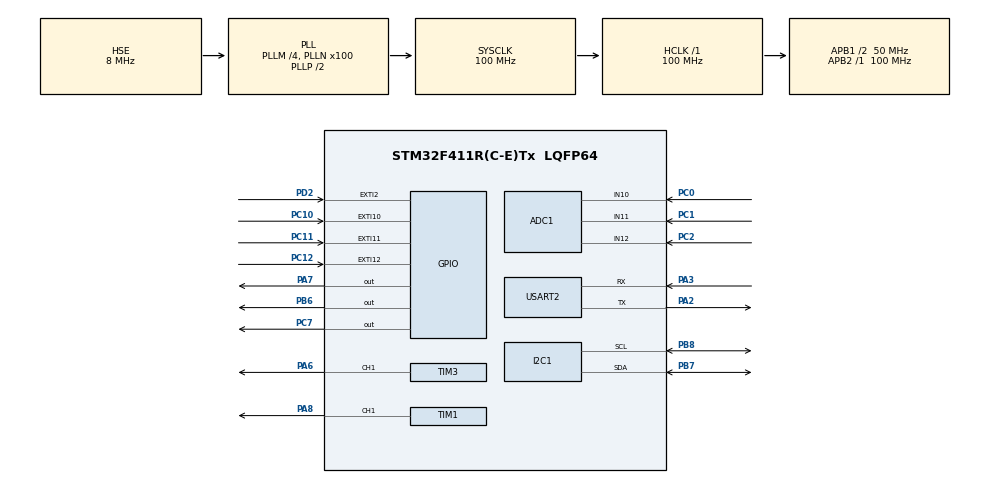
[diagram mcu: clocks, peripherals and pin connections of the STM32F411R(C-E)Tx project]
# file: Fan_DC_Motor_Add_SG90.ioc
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ADC1.Channel-0\#ChannelRegularConversion=ADC_CHANNEL_10
ADC1.Channel-1\#ChannelRegularConversion=ADC_CHANNEL_11
ADC1.Channel-2\#ChannelRegularConversion=ADC_CHANNEL_12
ADC1.ContinuousConvMode=ENABLE
ADC1.DMAContinuousRequests=ENABLE
ADC1.NbrOfConversion=3
ADC1.NbrOfConversionFlag=1
ADC1.Rank-0\#ChannelRegularConversion=1
ADC1.Rank-1\#ChannelRegularConversion=2
ADC1.Rank-2\#ChannelRegularConversion=3
ADC1.SamplingTime-0\#ChannelRegularConversion=ADC_SAMPLETIME_112CYCLES
ADC1.SamplingTime-1\#ChannelRegularConversion=ADC_SAMPLETIME_112CYCLES
ADC1.SamplingTime-2\#ChannelRegularConversion=ADC_SAMPLETIME_112CYCLES
ADC1.ScanConvMode=ENABLE
ADC1.master=1
Dma.ADC1.0.Direction=DMA_PERIPH_TO_MEMORY
Dma.ADC1.0.FIFOMode=DMA_FIFOMODE_DISABLE
Dma.ADC1.0.Instance=DMA2_Stream0
Dma.ADC1.0.MemDataAlignment=DMA_MDATAALIGN_HALFWORD
Dma.ADC1.0.MemInc=DMA_MINC_ENABLE
Dma.ADC1.0.Mode=DMA_CIRCULAR
Dma.ADC1.0.PeriphDataAlignment=DMA_PDATAALIGN_HALFWORD
Dma.ADC1.0.PeriphInc=DMA_PINC_DISABLE
Dma.ADC1.0.Priority=DMA_PRIORITY_LOW
Dma.Request0=ADC1
Mcu.Family=STM32F4
Mcu.Name=STM32F411R(C-E)Tx
Mcu.Package=LQFP64
NVIC.DMA2_Stream0_IRQn=true\:0\:0\:false\:false\:true\:false\:true\:true
NVIC.EXTI15_10_IRQn=true\:0\:0\:false\:false\:true\:true\:true\:true
NVIC.EXTI2_IRQn=true\:0\:0\:false\:false\:true\:true\:true\:true
NVIC.PriorityGroup=NVIC_PRIORITYGROUP_4
NVIC.TIM1_TRG_COM_TIM11_IRQn=true\:0\:0\:false\:false\:true\:true\:true\:true
NVIC.USART2_IRQn=true\:0\:0\:false\:false\:true\:true\:true\:true
PA13.Mode=Serial_Wire
PA13.Signal=SYS_JTMS-SWDIO
PA14.Mode=Serial_Wire
PA14.Signal=SYS_JTCK-SWCLK
PA2.Mode=Asynchronous
PA2.Signal=USART2_TX
PA3.Mode=Asynchronous
PA3.Signal=USART2_RX
PA6.Signal=S_TIM3_CH1
PA7.Signal=GPIO_Output
PA8.Signal=S_TIM1_CH1
PB6.Signal=GPIO_Output
PB7.Mode=I2C
PB7.Signal=I2C1_SDA
PB8.Mode=I2C
PB8.Signal=I2C1_SCL
PC0.Signal=ADCx_IN10
PC1.Signal=ADCx_IN11
PC10.GPIO_ModeDefaultEXTI=GPIO_MODE_IT_FALLING
PC10.Signal=GPXTI10
PC11.GPIO_ModeDefaultEXTI=GPIO_MODE_IT_FALLING
PC11.Signal=GPXTI11
PC12.GPIO_ModeDefaultEXTI=GPIO_MODE_IT_FALLING
PC12.Signal=GPXTI12
PC2.Signal=ADCx_IN12
PC7.Signal=GPIO_Output
PD2.GPIO_ModeDefaultEXTI=GPIO_MODE_IT_FALLING
PD2.Signal=GPXTI2
PH0\ -\ OSC_IN.Mode=HSE-External-Oscillator
PH0\ -\ OSC_IN.Signal=RCC_OSC_IN
PH1\ -\ OSC_OUT.Mode=HSE-External-Oscillator
PH1\ -\ OSC_OUT.Signal=RCC_OSC_OUT
ProjectManager.HeapSize=0x200
ProjectManager.StackSize=0x400
ProjectManager.TargetToolchain=STM32CubeIDE
RCC.48MHZClocksFreq_Value=50000000
RCC.AHBFreq_Value=100000000
RCC.APB1CLKDivider=RCC_HCLK_DIV2
RCC.APB1Freq_Value=50000000
RCC.APB1TimFreq_Value=100000000
RCC.APB2Freq_Value=100000000
RCC.APB2TimFreq_Value=100000000
RCC.CortexFreq_Value=100000000
RCC.HCLKFreq_Value=100000000
RCC.HSE_VALUE=8000000
RCC.HSI_VALUE=16000000
RCC.LSE_VALUE=32768
RCC.PLLM=4
RCC.PLLN=100
RCC.PLLSourceVirtual=RCC_PLLSOURCE_HSE
RCC.SYSCLKFreq_VALUE=100000000
RCC.SYSCLKSource=RCC_SYSCLKSOURCE_PLLCLK
RCC.VCOOutputFreq_Value=200000000
SH.ADCx_IN10.0=ADC1_IN10,IN10
SH.ADCx_IN11.0=ADC1_IN11,IN11
SH.ADCx_IN12.0=ADC1_IN12,IN12
SH.S_TIM1_CH1.0=TIM1_CH1,PWM Generation1 CH1
SH.S_TIM3_CH1.0=TIM3_CH1,PWM Generation1 CH1
TIM1.Channel-PWM\ Generation1\ CH1=TIM_CHANNEL_1
TIM1.Period=1000-1
TIM1.Prescaler=1000-1
TIM11.Period=1000-1
TIM11.Prescaler=10000-1
TIM3.Channel-PWM\ Generation1\ CH1=TIM_CHANNEL_1
TIM3.Period=10000-1
TIM3.Prescaler=1000-1
USART2.VirtualMode=VM_ASYNC
VP_TIM11_VS_ClockSourceINT.Mode=Enable_Timer
VP_TIM1_VS_ClockSourceINT.Mode=Internal
VP_TIM3_VS_ClockSourceINT.Mode=Internal
board=custom

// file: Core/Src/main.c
/* USER CODE BEGIN Header */
/**
  ******************************************************************************
  * @file           : main.c
  * @brief          : Main program body
  ******************************************************************************
  * @attention
  *
  * Copyright (c) 2023 STMicroelectronics.
  * All rights reserved.
  *
  * This software is licensed under terms that can be found in the LICENSE file
  * in the root directory of this software component.
  * If no LICENSE file comes with this software, it is provided AS-IS.
  *
  ******************************************************************************
  */
/* USER CODE END Header */
#include "main.h"
#include "adc.h"
#include "dma.h"
#include "i2c.h"
#include "tim.h"
#include "usart.h"
#include "gpio.h"

/* USER CODE BEGIN Includes */
#include "I2C_LCD.h"
#include "MOTOR.h"
/* USER CODE END Includes */

/* USER CODE BEGIN PV */
int state = 0;
uint8_t buff[30];
uint16_t adcValue[3];
int flag[2]={0};
uint8_t temp[30];
int time=0;
/* USER CODE END PV */

void SystemClock_Config(void);

/* USER CODE BEGIN 0 */
void HAL_GPIO_EXTI_Callback(uint16_t GPIO_Pin)
{
  Motor_Play(GPIO_Pin, buff, flag);
}

void HAL_TIM_PeriodElapsedCallback(TIM_HandleTypeDef *htim)
{
  if(htim->Instance == htim11.Instance)
  {
    time++;
    if(time%10==0){
      Timer_start(temp, flag, buff);
    }
  }
}
/* USER CODE END 0 */

int main(void)
{

  /* MCU Configuration--------------------------------------------------------*/

  /* Reset of all peripherals, Initializes the Flash interface and the Systick. */
  HAL_Init();

  /* Configure the system clock */
  SystemClock_Config();

  /* Initialize all configured peripherals */
  MX_GPIO_Init();
  MX_DMA_Init();
  MX_TIM3_Init();
  MX_USART2_UART_Init();
  MX_I2C1_Init();
  MX_ADC1_Init();
  MX_TIM1_Init();
  MX_TIM11_Init();
  /* USER CODE BEGIN 2 */
  LCD_Init();
  HAL_TIM_PWM_Start(&htim3, TIM_CHANNEL_1);
  HAL_TIM_PWM_Start(&htim1, TIM_CHANNEL_1);
  HAL_ADC_Start_DMA(&hadc1, adcValue, 3);
  HAL_TIM_Base_Start_IT(&htim11);
  /* USER CODE END 2 */

  /* Infinite loop */
  while (1)
  {

    /* USER CODE BEGIN 3 */
    SG90_Init(adcValue, flag);

    LCD_Put_cur(0,0);
    LCD_Send_string(buff);
    if(flag[1]!=0){
      LCD_Put_cur(1,0);
      LCD_Send_string(temp);
    }
    HAL_Delay(10);
  }
  /* USER CODE END 3 */
}

void SystemClock_Config(void)
{
  RCC_OscInitTypeDef RCC_OscInitStruct = {0};
  RCC_ClkInitTypeDef RCC_ClkInitStruct = {0};

  /** Configure the main internal regulator output voltage
  */
  __HAL_RCC_PWR_CLK_ENABLE();
  __HAL_PWR_VOLTAGESCALING_CONFIG(PWR_REGULATOR_VOLTAGE_SCALE1);

  /** Initializes the RCC Oscillators according to the specified parameters
  * in the RCC_OscInitTypeDef structure.
  */
  RCC_OscInitStruct.OscillatorType = RCC_OSCILLATORTYPE_HSE;
  RCC_OscInitStruct.HSEState = RCC_HSE_ON;
  RCC_OscInitStruct.PLL.PLLState = RCC_PLL_ON;
  RCC_OscInitStruct.PLL.PLLSource = RCC_PLLSOURCE_HSE;
  RCC_OscInitStruct.PLL.PLLM = 4;
  RCC_OscInitStruct.PLL.PLLN = 100;
  RCC_OscInitStruct.PLL.PLLP = RCC_PLLP_DIV2;
  RCC_OscInitStruct.PLL.PLLQ = 4;
  if (HAL_RCC_OscConfig(&RCC_OscInitStruct) != HAL_OK)
  {
    Error_Handler();
  }

  /** Initializes the CPU, AHB and APB buses clocks
  */
  RCC_ClkInitStruct.ClockType = RCC_CLOCKTYPE_HCLK|RCC_CLOCKTYPE_SYSCLK
                              |RCC_CLOCKTYPE_PCLK1|RCC_CLOCKTYPE_PCLK2;
  RCC_ClkInitStruct.SYSCLKSource = RCC_SYSCLKSOURCE_PLLCLK;
  RCC_ClkInitStruct.AHBCLKDivider = RCC_SYSCLK_DIV1;
  RCC_ClkInitStruct.APB1CLKDivider = RCC_HCLK_DIV2;
  RCC_ClkInitStruct.APB2CLKDivider = RCC_HCLK_DIV1;

  if (HAL_RCC_ClockConfig(&RCC_ClkInitStruct, FLASH_LATENCY_3) != HAL_OK)
  {
    Error_Handler();
  }
}

void Error_Handler(void)
{
  __disable_irq();
  while (1)
  {
  }
}
